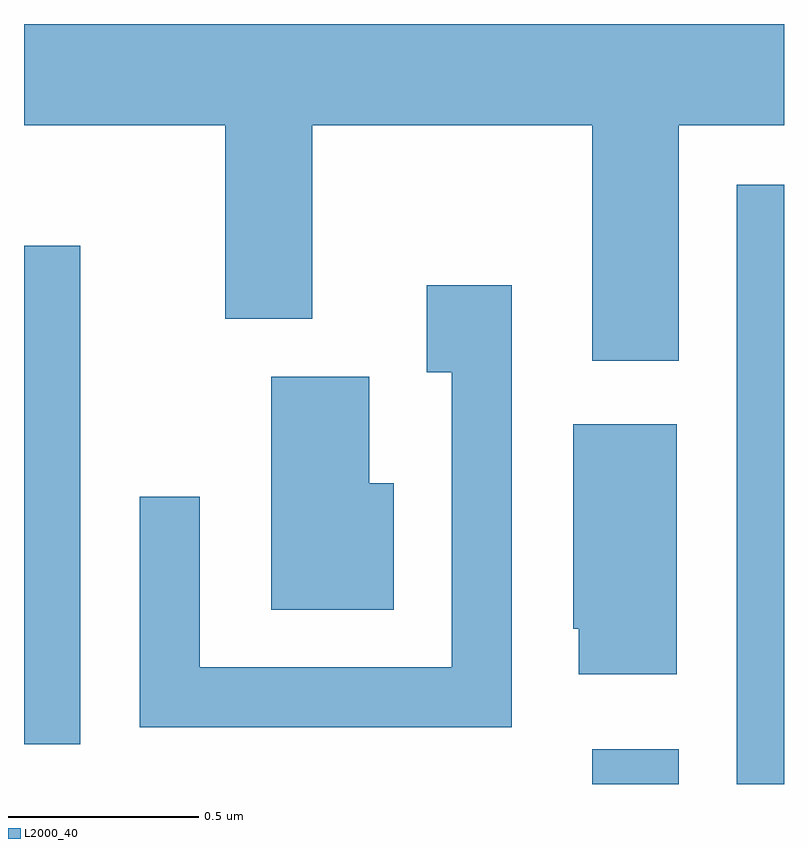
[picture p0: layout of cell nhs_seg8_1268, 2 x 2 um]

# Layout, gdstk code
import gdstk
lib = gdstk.Library(unit=1e-6, precision=1e-09)
def R(c, l, rs):  # rectangles x0, y0, x1, y1
    for r in rs: c.add(gdstk.rectangle(r[:2], r[2:], *l))
def P(c, l, *ps):  # polygons
    for p in ps: c.add(gdstk.Polygon(p, *l))
L2000_40 = (2000, 40)

nhs_seg8_1268 = lib.new_cell('nhs_seg8_1268')
R(nhs_seg8_1268, L2000_40, [(196.106,1841.342,196.334,1841.434), (196.486,1841.342,196.611,1842.919), (194.611,1841.446,194.759,1842.759)])
P(nhs_seg8_1268, L2000_40, [(196.334,1843.076),(196.611,1843.076),(196.611,1843.342),(194.611,1843.342),(194.611,1843.076),(195.141,1843.076),(195.141,1842.566),(195.369,1842.566),(195.369,1843.076),(196.106,1843.076),(196.106,1842.456),(196.334,1842.456)],
  [(195.894,1842.654),(195.671,1842.654),(195.671,1842.426),(195.736,1842.426),(195.736,1841.649),(195.074,1841.649),(195.074,1842.098),(194.916,1842.098),(194.916,1841.491),(195.894,1841.491)],
  [(195.584,1842.134),(195.519,1842.134),(195.519,1842.414),(195.261,1842.414),(195.261,1841.801),(195.584,1841.801)],
  [(196.329,1842.289),(196.056,1842.289),(196.056,1841.75),(196.071,1841.75),(196.071,1841.631),(196.329,1841.631)])

lib.write_gds('nhs_seg8_1268.gds')
